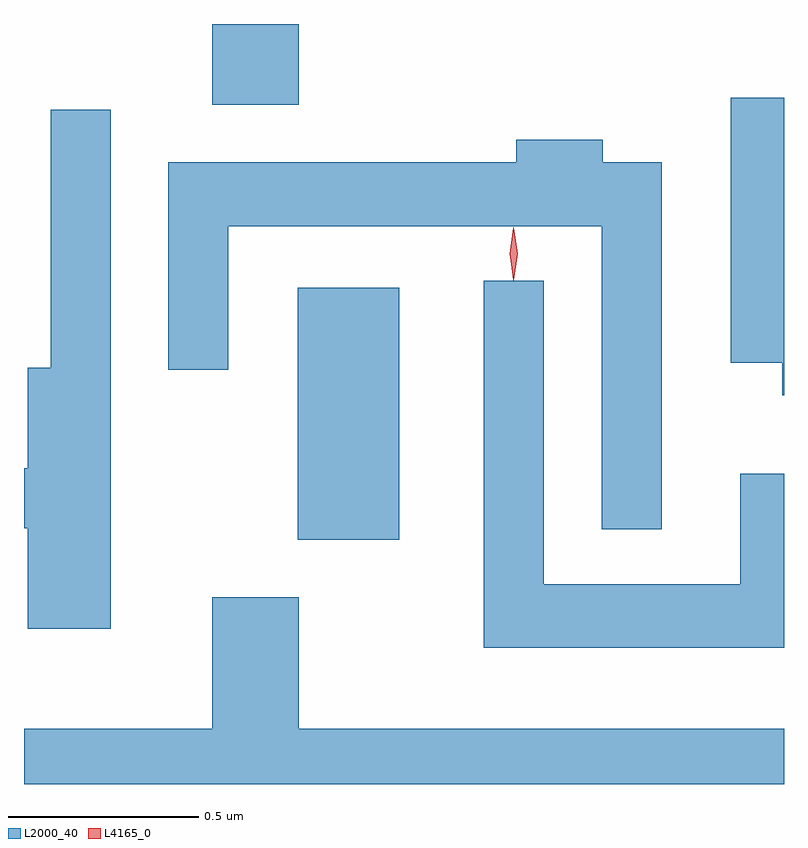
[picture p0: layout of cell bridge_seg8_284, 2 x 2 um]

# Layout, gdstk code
import gdstk
lib = gdstk.Library(unit=1e-6, precision=1e-09)
def R(c, l, rs):  # rectangles x0, y0, x1, y1
    for r in rs: c.add(gdstk.rectangle(r[:2], r[2:], *l))
def P(c, l, *ps):  # polygons
    for p in ps: c.add(gdstk.Polygon(p, *l))
L2000_40 = (2000, 40)
L4165_0 = (4165, 0)

bridge_seg8_284 = lib.new_cell('bridge_seg8_284')
R(bridge_seg8_284, L2000_40, [(1362.636,1808.321,1362.904,1808.984), (1362.411,1809.466,1362.639,1809.678)])
P(bridge_seg8_284, L2000_40, [(1363.916,1809.484),(1363.776,1809.484),(1363.776,1808.786),(1363.911,1808.786),(1363.911,1808.701),(1363.916,1808.701)],
  [(1362.144,1809.453),(1361.986,1809.453),(1361.986,1808.774),(1361.926,1808.774),(1361.926,1808.509),(1361.916,1808.509),(1361.916,1808.351),(1361.926,1808.351),(1361.926,1808.086),(1362.144,1808.086)],
  [(1363.594,1809.314),(1363.439,1809.314),(1363.439,1809.374),(1363.211,1809.374),(1363.211,1809.314),(1362.296,1809.314),(1362.296,1808.768),(1362.454,1808.768),(1362.454,1809.146),(1363.436,1809.146),(1363.436,1808.348),(1363.594,1808.348)],
  [(1363.916,1808.494),(1363.801,1808.494),(1363.801,1808.204),(1363.284,1808.204),(1363.284,1809.003),(1363.126,1809.003),(1363.126,1808.036),(1363.916,1808.036)],
  [(1363.916,1807.824),(1362.639,1807.824),(1362.639,1808.169),(1362.411,1808.169),(1362.411,1807.824),(1361.916,1807.824),(1361.916,1807.678),(1363.916,1807.678)])
P(bridge_seg8_284, L4165_0, [(1363.204,1809.007),(1363.204,1809.007),(1363.194,1809.074),(1363.204,1809.14),(1363.204,1809.14),(1363.205,1809.14),(1363.214,1809.074),(1363.205,1809.007)],
  [(1363.205,1809.003),(1363.204,1809.004),(1363.195,1809.073),(1363.204,1809.142),(1363.205,1809.143),(1363.205,1809.142),(1363.215,1809.073),(1363.205,1809.004)])

lib.write_gds('bridge_seg8_284.gds')
